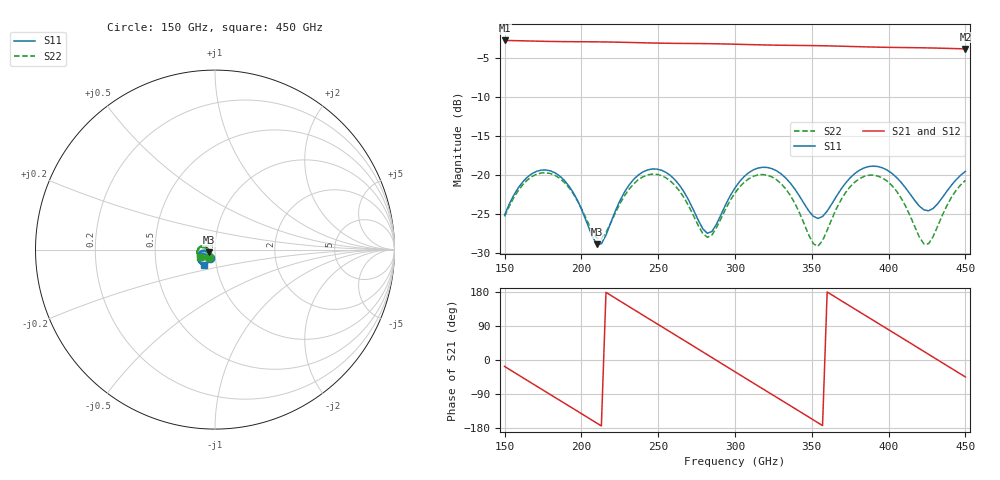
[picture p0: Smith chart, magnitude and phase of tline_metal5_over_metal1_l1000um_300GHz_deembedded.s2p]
! Created with skrf 2.0.1 (http://scikit-rf.org).
# GHz S DB R 50.0
!freq dBS11 angS11 dBS21 angS21 dBS12 angS12 dBS22 angS22
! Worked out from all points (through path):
!   101 points, 150 GHz to 450 GHz, reference 50 ohm
!   highest |S21| = -2.80 dB at 150 GHz (marker M1); lowest = -3.9 dB at 450 GHz (marker M2)
!   group delay of S21, straight-line fit = 6.92 ps
!   lowest |S11| = -28.8 dB at 210 GHz (marker M3), VSWR 1.08, Z = 46.8 - j1.49 ohm
!   |S11| at or under -10 dB: start of sweep to end of sweep
!   |S22| runs from -29.1 to -19.7 dB; largest |S21 - S12| = 8.2e-14
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150  -25.09 -118.5  -2.80 -17.0  -2.80 -17.0  -25.30 -130.2
165  -20.23 -130.5  -2.86 -54.5  -2.86 -54.5  -20.60 -142.3
177  -19.35 -150.0  -2.91 -84.4  -2.91 -84.4  -19.70 -162.3
189  -20.69 -168.8  -2.95 -114.1  -2.95 -114.1  -20.96 178.7
201  -24.80 -177.3  -2.97 -144.0  -2.97 -144.0  -24.67 170.0
210  -28.83 -153.9  -2.98 -166.5  -2.98 -166.5  -28.04 -171.4
228  -22.19 -118.0  -3.04 148.4  -3.04 148.4  -22.66 -140.6
240  -19.60 -133.4  -3.10 118.5  -3.10 118.5  -20.23 -155.5
252  -19.37 -152.1  -3.15 88.7  -3.15 88.7  -20.06 -174.5
267  -22.22 -169.8  -3.18 51.4  -3.18 51.4  -22.95 167.2
282  -27.44 -146.4  -3.21 13.9  -3.21 13.9  -27.95 -170.1
300  -21.63 -118.1  -3.28 -31.1  -3.28 -31.1  -22.28 -146.2
312  -19.33 -131.7  -3.34 -61.0  -3.34 -61.0  -20.15 -161.8
324  -19.17 -148.4  -3.39 -90.8  -3.39 -90.8  -20.23 179.2
336  -21.02 -161.2  -3.42 -120.6  -3.42 -120.6  -22.59 163.4
351  -25.26 -149.9  -3.46 -158.1  -3.46 -158.1  -28.77 178.9
372  -21.02 -120.7  -3.55 149.4  -3.55 149.4  -22.23 -145.4
387  -18.91 -136.0  -3.63 112.1  -3.63 112.1  -20.02 -166.8
402  -19.76 -153.5  -3.69 74.9  -3.69 74.9  -21.30 170.3
426  -24.56 -137.9  -3.75 15.1  -3.75 15.1  -28.78 -162.3
438  -22.05 -120.6  -3.81 -14.9  -3.81 -14.9  -23.88 -140.9
450  -19.53 -126.2  -3.88 -44.7  -3.88 -44.7  -20.68 -152.7
